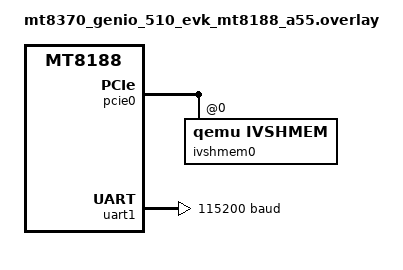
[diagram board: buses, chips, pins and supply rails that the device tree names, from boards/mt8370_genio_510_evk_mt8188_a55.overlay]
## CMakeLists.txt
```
# SPDX-License-Identifier: Apache-2.0

cmake_minimum_required(VERSION 3.20.0)

find_package(Zephyr REQUIRED HINTS $ENV{ZEPHYR_BASE})
project(rpmsg-test)

target_include_directories(app PRIVATE ../include)

target_sources(app PRIVATE src/main.c)
```

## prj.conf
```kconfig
CONFIG_OPENAMP=y
CONFIG_HEAP_MEM_POOL_SIZE=131072

CONFIG_PCIE=y
CONFIG_PCIE_CONTROLLER=y
CONFIG_PCIE_ECAM=y
CONFIG_POLL=y
CONFIG_DYNAMIC_INTERRUPTS=y

CONFIG_VIRTUALIZATION=y
CONFIG_IVSHMEM_V2=y
CONFIG_IVSHMEM_DOORBELL=y
```

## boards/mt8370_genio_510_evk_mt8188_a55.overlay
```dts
/*
 * Copyright 2026 MediaTek
 *
 * SPDX-License-Identifier: Apache-2.0
 */

/ {
	chosen {
		zephyr,pcie-controller = &pcie0;
	};

	pcie0: pcie@6b800000 {
		compatible = "pci-host-ecam-generic";
		device_type = "pci";
		reg = <0x6b800000 0x100000>;
		#address-cells = <0x03>;
		#size-cells = <0x02>;
		ranges = <0x03000000 0x00 0x6b900000 0x6b900000 0x00 0x1000>;

		/*
		 * v4.4.2's pci-host-ecam-generic binding includes
		 * interrupt-nexus.yaml, which makes these mandatory. The ivshmem
		 * node below also names its interrupt directly, so this map is
		 * what satisfies the binding rather than what routes the IRQ.
		 */
		#interrupt-cells = <0x01>;
		interrupt-map-mask = <0x00 0x00 0x00 0x07>;
		interrupt-map = <0x00 0x00 0x00 0x01 &gic 0x00 GIC_SPI 74 IRQ_TYPE_LEVEL IRQ_DEFAULT_PRIORITY>;

		status = "okay";

		ivshmem0: ivshmem@0 {
			compatible = "qemu,ivshmem";

            ivshmem-v2;

            interrupt-parent = <&gic>;
            interrupts = <GIC_SPI 74 IRQ_TYPE_LEVEL IRQ_DEFAULT_PRIORITY>;

			vendor-id = <0x110a>;			/* Siemens */
			device-id = <0x4106>;			/* IVSHMEM */
			class-rev = <0xff000000>;       /* PCI_CLASS_OTHERS | IVSHMEM_PROTO_UNDEFINED */
			class-rev-mask = <0xffffff00>;	/* PCI_CLASS_MASK | IVSHMEM_PROTO_MASK */

			reg = <0x00 0x00 0x00 0x00 0x01>;

			status = "okay";
		};
	};
};

&gpio0_31 {
	status = "okay";
};

&uart1 {
	pinctrl-0 = <&uart1_default>;
	pinctrl-names = "default";
	current-speed = <115200>;
	status = "okay";
};
```

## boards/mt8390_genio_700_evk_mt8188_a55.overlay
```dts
/*
 * Copyright 2026 MediaTek
 *
 * SPDX-License-Identifier: Apache-2.0
 */

/*
 * The rpmsg cells give the inmate a virtual PCI host bridge at 0x6b800000 with
 * one ivshmem-v2 device behind it, interrupting on GIC SPI 74.  The shared
 * memory is read from the device, so nothing here names its regions.
 *
 * The same overlay serves both Genio EVKs: the cells give them the same layout.
 */

/ {
	chosen {
		zephyr,pcie-controller = &pcie0;
	};

	pcie0: pcie@6b800000 {
		compatible = "pci-host-ecam-generic";
		device_type = "pci";
		reg = <0x6b800000 0x100000>;
		#address-cells = <0x03>;
		#size-cells = <0x02>;
		ranges = <0x03000000 0x00 0x6b900000 0x6b900000 0x00 0x1000>;

		/*
		 * The pci-host-ecam-generic binding includes interrupt-nexus.yaml,
		 * which makes these mandatory.  The ivshmem node below also names
		 * its interrupt directly, so this map is what satisfies the binding
		 * rather than what routes the IRQ.
		 */
		#interrupt-cells = <0x01>;
		interrupt-map-mask = <0x00 0x00 0x00 0x07>;
		interrupt-map = <0x00 0x00 0x00 0x01
				 &gic 0x00 GIC_SPI 74 IRQ_TYPE_LEVEL IRQ_DEFAULT_PRIORITY>;

		status = "okay";

		ivshmem0: ivshmem@0 {
			compatible = "qemu,ivshmem";

			ivshmem-v2;

			interrupt-parent = <&gic>;
			interrupts = <GIC_SPI 74 IRQ_TYPE_LEVEL IRQ_DEFAULT_PRIORITY>;

			vendor-id = <0x110a>;		/* Siemens */
			device-id = <0x4106>;		/* IVSHMEM */
			class-rev = <0xff000000>;	/* PCI_CLASS_OTHERS | IVSHMEM_PROTO_UNDEFINED */
			class-rev-mask = <0xffffff00>;	/* PCI_CLASS_MASK | IVSHMEM_PROTO_MASK */

			reg = <0x00 0x00 0x00 0x00 0x01>;

			status = "okay";
		};
	};
};
```

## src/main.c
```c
/*
 * Copyright (c) 2018, NXP
 * Copyright (c) 2018, Nordic Semiconductor ASA
 * Copyright (c) 2018-2019, Linaro Limited
 *
 * SPDX-License-Identifier: Apache-2.0
 */

#include <stdio.h>
#include <stdlib.h>
#include <string.h>
#include <zephyr/device.h>
#include <zephyr/drivers/ipm.h>
#include <zephyr/drivers/virtualization/ivshmem.h>
#include <zephyr/kernel.h>
#include <zephyr/arch/arch_interface.h>	/* arch_page_phys_get() */

#include <openamp/open_amp.h>
#include <metal/device.h>

#include "common.h"


#define ERROR_STR  "[ERROR] "
#define INFO_STR   "[INFO]  "

#define MSG_STR_SIZE 64

#define MSG_STR "Hello from Zephyr!"

#define RPMSG_THREAD_STACK_SIZE    2048
#define DOORBELL_THREAD_STACK_SIZE 2048


typedef enum{
    RSC_OFFS_VDEV = 0,
    RSC_OFFS_END
}   rsc_offs_t;

typedef struct __attribute__ ((packed)) {
    struct resource_table hdr;

	uint32_t offset [RSC_OFFS_END];

    struct fw_rsc_vdev vdev;

    struct fw_rsc_vdev_vring vring [VRING_COUNT];
}   rsc_tbl_t;

typedef struct {
	/* IVSHMEM device */
	const struct device* dev;

	/* Virtual and physical address of IVSHMEM RW memory region. */
	uintptr_t ivshmem_paddr;
	uintptr_t ivshmem_vaddr;

	/* Size of IVSHMEM RW memory region. */
	size_t ivshmem_size;

	uint32_t id;
	uint32_t target;
}   rpmsg_ctx_t;


static int msg_cnt = 0;

static char msg_tx [MSG_STR_SIZE];

static rpmsg_ctx_t rpmsg_ctx;

/* Static part of the resource table. The dynamic   */
/* part gets set during application initialization. */
static const rsc_tbl_t rsc_tbl = {
    .hdr = {
        .ver = 1,
        .num = RSC_OFFS_END,

        .reserved = {0, 0},
    },

    .offset = {
        [RSC_OFFS_VDEV] = offsetof (rsc_tbl_t, vdev),
    },

    .vdev = {
        .type = RSC_VDEV,
        .id   = VIRTIO_ID_RPMSG,

        .notifyid   = 0,
        .dfeatures  = 1 << VIRTIO_RPMSG_F_NS,
        .gfeatures  = 0,
        .config_len = 0,
        .status     = 0,

        .num_of_vrings = VRING_COUNT,
        
        .reserved = {0, 0}
    },

    .vring = {
        [VRING_TX] = {
            .align    = VRING_ALIGNMENT,
            .num      = VRING_NUM_DESCRS,
            .notifyid = VRING_TX + 1,
            .reserved = 0,
        },
        [VRING_RX] = {
            .align    = VRING_ALIGNMENT,
            .num      = VRING_NUM_DESCRS,
            .notifyid = VRING_RX + 1,
            .reserved = 0,
        },
    }
};


static uint32_t rpmsg_dest = UINT32_MAX;

static struct metal_io_region metal_io;

static metal_phys_addr_t rpmsg_paddr_map;

static struct rpmsg_virtio_shm_pool shm_pool;

static struct virtqueue* vq [VRING_COUNT];

static struct virtio_vring_info vrings [VRING_COUNT];

static struct virtio_device vdev;

static struct rpmsg_virtio_device rpmsg_vdev;

static struct rpmsg_device* rpmsg_dev;

static struct rpmsg_endpoint rpmsg_ept;

static struct k_thread rpmsg_thread;
static struct k_thread doorbell_thread;

static K_THREAD_STACK_DEFINE (rpmsg_stack, RPMSG_THREAD_STACK_SIZE);
static K_THREAD_STACK_DEFINE (doorbell_stack, DOORBELL_THREAD_STACK_SIZE);

static K_SEM_DEFINE (virtio_config_sem, 0, 1);

static struct k_poll_signal doorbell_sig = K_POLL_SIGNAL_INITIALIZER (doorbell_sig);

static struct k_poll_event doorbell_evt = K_POLL_EVENT_INITIALIZER (K_POLL_TYPE_SIGNAL, K_POLL_MODE_NOTIFY_ONLY, &doorbell_sig);

static volatile bool tx_msg = false;


static unsigned char vdev_get_status (struct virtio_device* vdev);
static void vdev_set_status (struct virtio_device* vdev,
                             unsigned char         status);
static uint32_t vdev_get_features (struct virtio_device* vdev);
static void vdev_set_features (struct virtio_device* vdev,
                               uint32_t              features);
static void vdev_nfy (struct virtqueue* vq);

static void rpmsg_ns_nfy (struct rpmsg_device* rdev,
                          const char*          name,
                          uint32_t             dest);
static int rpmsg_ept_nfy (struct rpmsg_endpoint* ept,
                          void*                  data,
		                  size_t                 len,
                          uint32_t               src,
                          void*                  priv);
static void rpmsg_service_unbind(struct rpmsg_endpoint* ept);

static struct fw_rsc_vdev* get_rsc_tbl_vdev (uintptr_t ptr);
static struct fw_rsc_vdev_vring* get_rsc_tbl_vring (uintptr_t  ptr,
                                                    size_t     idx);

static void doorbell_task (void* arg1,
                           void* arg2,
                           void* arg3);
static void rpmsg_task (void* arg1,
                        void* arg2,
                        void* arg3);


static const struct virtio_dispatch vdispatch = {
	.get_status   = vdev_get_status,
	.set_status   = vdev_set_status,
	.get_features = vdev_get_features,
	.set_features = vdev_set_features,
	.notify       = vdev_nfy,
};

static unsigned char vdev_get_status (struct virtio_device* vdev)
{
    volatile struct fw_rsc_vdev* rsc_tbl_vdev = get_rsc_tbl_vdev (rpmsg_ctx.ivshmem_vaddr);


    return (rsc_tbl_vdev->status);
}

static void vdev_set_status (struct virtio_device* vdev,
                             unsigned char         status)
{
    printf (INFO_STR "vdev_set_status  status: 0x%02x\n", status);
}

static uint32_t vdev_get_features (struct virtio_device* vdev)
{
    uint32_t features = 1 << VIRTIO_RPMSG_F_NS;


    printf (INFO_STR "vdev_get_features  features: 0x%08x\n", features);

	return (features);
}

static void vdev_set_features (struct virtio_device* vdev,
                               uint32_t              features)
{
    printf (INFO_STR "vdev_set_features  features: 0x%08x\n", features);
}

static void vdev_nfy (struct virtqueue* vq)
{
    /* For the moment, the interrupt number is always '0'. */
    ivshmem_int_peer (rpmsg_ctx.dev, rpmsg_ctx.target, 0);
}

static void rpmsg_ns_nfy (struct rpmsg_device* rdev,
                          const char*          name,
                          uint32_t             dest)
{
    printf (INFO_STR "rpmsg_ns_nfy  name: %s  dest: 0x%08x\n", name, dest);

	rpmsg_dev  = rdev;
	rpmsg_dest = dest;
}

static int rpmsg_ept_nfy (struct rpmsg_endpoint* ept,
                          void*                  data,
		                  size_t                 len,
                          uint32_t               src,
                          void*                  priv)
{
    printf (INFO_STR "RPMSG RX  len: %d  msg: \'%s\'\n", (int) len, (const char*) data);

    tx_msg = true;

	return (RPMSG_SUCCESS);
}

static void rpmsg_service_unbind (struct rpmsg_endpoint* ept)
{
    printf (INFO_STR "rpmsg_service_unbind\n");

	rpmsg_destroy_ept (ept);
}

static int send_message (void)
{
    msg_tx [0] = '\0';
    msg_cnt++;

    snprintf (msg_tx, sizeof (msg_tx), "%s  %d", MSG_STR, msg_cnt);

	printf(INFO_STR "send_message  Size: %zu\n", strlen (msg_tx) + 1);

	return (rpmsg_send (&rpmsg_ept, msg_tx, strlen (msg_tx) + 1));
}

static struct fw_rsc_vdev* get_rsc_tbl_vdev (uintptr_t ptr)
{
    return ((struct fw_rsc_vdev*) &(((rsc_tbl_t*) ptr)->vdev));
}

static struct fw_rsc_vdev_vring* get_rsc_tbl_vring (uintptr_t  ptr,
                                                    size_t     idx)
{
    return ((struct fw_rsc_vdev_vring*) &(((rsc_tbl_t*) ptr)->vring [idx]));
}                                                    

static void doorbell_task (void* arg1,
                           void* arg2,
                           void* arg3)
{
    bool virtio_ready = false;

	ARG_UNUSED (arg1);
	ARG_UNUSED (arg2);
	ARG_UNUSED (arg3);


    printf (INFO_STR "DOORBELL_TASK started ...\n");

	/* Signal that the IVSHMEM vPCI device is ready for initialization. */
	ivshmem_set_state (rpmsg_ctx.dev, 1);

	while (1) {
		int          vector;
		unsigned int signaled;

		k_poll (&doorbell_evt, 1, K_FOREVER);

		k_poll_signal_check (&doorbell_sig, &signaled, &vector);
		if (signaled == 0) {
			continue;
		}

        if (! (virtio_ready)) {
            volatile struct fw_rsc_vdev* rsc_tbl_vdev = get_rsc_tbl_vdev (rpmsg_ctx.ivshmem_vaddr);

            while ((rsc_tbl_vdev->status & VIRTIO_CONFIG_STATUS_DRIVER_OK) == 0) {
                /* Wait for the driver status to become ok. */
            }

            virtio_ready = true;

            k_sem_give (&virtio_config_sem);
        } else {
            virtqueue_notification (vq [VRING_RX]);
        }

		k_poll_signal_init (&doorbell_sig);
	}
}

static void rpmsg_task (void* arg1,
                        void* arg2,
                        void* arg3)
{
    int                      ret;
    uint32_t                 max_peers;
	struct metal_init_params metal_params = METAL_INIT_DEFAULTS;


	ARG_UNUSED (arg1);
	ARG_UNUSED (arg2);
	ARG_UNUSED (arg3);


    printf (INFO_STR "RPMSG_TASK started ...\n");

    /* Retrieve the IVSHMEM memory region. */
	rpmsg_ctx.dev = DEVICE_DT_GET (DT_NODELABEL (ivshmem0));
	if (! (device_is_ready (rpmsg_ctx.dev))) {
		printf (ERROR_STR "Could not get IVSHMEM device\n");

		return;
	}

    /* Retrieve the IVSHMEM RW memory section. */
	rpmsg_ctx.ivshmem_size = ivshmem_get_rw_mem_section (rpmsg_ctx.dev, &rpmsg_ctx.ivshmem_vaddr);
	if (rpmsg_ctx.ivshmem_size == 0) {
		printf (ERROR_STR "IVSHMEM RW size cannot be 0\n");
		
        return;
	}

	if (((void*) rpmsg_ctx.ivshmem_vaddr) == NULL) {
		printf (ERROR_STR "IVSHMEM virtual memory address cannot be null\n");
		
        return;
	}

    if (arch_page_phys_get ((void*) rpmsg_ctx.ivshmem_vaddr, &rpmsg_ctx.ivshmem_paddr) != 0) {
        printf (ERROR_STR "Failed to get physical address for IVSHMEM memory\n");
        
        return;
    }

    /* Retrieve the IVSHMEM device id. */
	rpmsg_ctx.id = ivshmem_get_id (rpmsg_ctx.dev);

    /* Calculate the target id. */
	max_peers = ivshmem_get_max_peers (rpmsg_ctx.dev);
    if (max_peers == 0) {
        printf (ERROR_STR "Invalid max_peers value: %d\n", max_peers);
        
        return;
    }

    rpmsg_ctx.target = rpmsg_ctx.id + 1;
    if (rpmsg_ctx.target >= max_peers) {
        rpmsg_ctx.target = 0;
    }

	printf (INFO_STR "Id: %d  Target: %d\n", rpmsg_ctx.id, rpmsg_ctx.target);

    /* Clear the IVSHMEM memory region. */
    memset ((void*) rpmsg_ctx.ivshmem_vaddr, 0, rpmsg_ctx.ivshmem_size);

    /* Set the resource table in the IVSHMEM's VDEV area. */
	printf (INFO_STR "Setting resource table\n");
    memcpy ((void*) rpmsg_ctx.ivshmem_vaddr, &rsc_tbl, sizeof (rsc_tbl));

    get_rsc_tbl_vring (rpmsg_ctx.ivshmem_vaddr, VRING_TX)->da  = ((uint32_t) rpmsg_ctx.ivshmem_paddr) + (RESOURCE_SIZE + (VRING_TX * VRING_SIZE));
    get_rsc_tbl_vring (rpmsg_ctx.ivshmem_vaddr, VRING_RX)->da  = ((uint32_t) rpmsg_ctx.ivshmem_paddr) + (RESOURCE_SIZE + (VRING_RX * VRING_SIZE));

    /* Start the IVSHMEM doorbell thread handler. */    
	ret = ivshmem_register_handler (rpmsg_ctx.dev, &doorbell_sig, 0);
    if (ret != 0) {
		printf (ERROR_STR "ivshmem_register_handler () failed with: %d\n", ret);

		return;
	}

    /* Create the doorbell handler. */
    k_thread_create (&doorbell_thread, doorbell_stack, DOORBELL_THREAD_STACK_SIZE, doorbell_task, NULL, NULL, NULL, K_PRIO_COOP (2), 0, K_NO_WAIT);

	ret = ivshmem_enable_interrupts (rpmsg_ctx.dev, true);
    if (ret != 0) {
		printf (ERROR_STR "ivshmem_enable_interrupts () failed with: %d\n", ret);

		return;
	}

	printf (INFO_STR "Awaiting VIRTIO config ready ...\n");

    /* Wait for the other side to have initialized the IVSHMEM layer. */
	k_sem_take (&virtio_config_sem, K_FOREVER);

	printf (INFO_STR "VIRTIO config is ready ...\n");

    /* Initialize OPEN-AMP's METAL layer. */
	/* metal_params.log_level = METAL_LOG_DEBUG; */
	ret = metal_init (&metal_params);
	if (ret < 0) {
		printf (ERROR_STR "metal_init () failed with: %d\n", ret);

		return;
	}

	/* Declare shared memory region */
    rpmsg_paddr_map = (metal_phys_addr_t) rpmsg_ctx.ivshmem_paddr;

	metal_io_init (&metal_io, (void*) rpmsg_ctx.ivshmem_vaddr, &rpmsg_paddr_map, rpmsg_ctx.ivshmem_size, -1, 0, NULL);

	printf (INFO_STR "State: %d\n", ivshmem_get_state (rpmsg_ctx.dev, rpmsg_ctx.id));

	/* Setup RPMSG queues */
	vq [VRING_TX] = virtqueue_allocate (VRING_NUM_DESCRS);
	if (vq [VRING_TX] == NULL) {
		printf (ERROR_STR "virtqueue_allocate (num_desc_extra: %d) failed with: %d\n", VRING_NUM_DESCRS, -ENOMEM);

        return;
    }

	vq [VRING_RX] = virtqueue_allocate (VRING_NUM_DESCRS);
	if (vq [VRING_RX] == NULL) {
		printf (ERROR_STR "virtqueue_allocate (num_desc_extra: %d) failed with: %d\n", VRING_NUM_DESCRS, -ENOMEM);

        return;
    }

	vrings [VRING_TX].io             = &metal_io;
	vrings [VRING_TX].info.vaddr     = (void*) (rpmsg_ctx.ivshmem_vaddr + (RESOURCE_SIZE + (VRING_TX * VRING_SIZE)));
	vrings [VRING_TX].info.num_descs = VRING_NUM_DESCRS;
	vrings [VRING_TX].info.align     = VRING_ALIGNMENT;
	vrings [VRING_TX].vq             = vq [VRING_TX];

	vrings [VRING_RX].io             = &metal_io;
	vrings [VRING_RX].info.vaddr     = (void*) (rpmsg_ctx.ivshmem_vaddr + (RESOURCE_SIZE + (VRING_RX * VRING_SIZE)));
	vrings [VRING_RX].info.num_descs = VRING_NUM_DESCRS;
	vrings [VRING_RX].info.align     = VRING_ALIGNMENT;
	vrings [VRING_RX].vq             = vq [VRING_RX];

	vdev.role        = RPMSG_REMOTE;
	vdev.vrings_num  = VRING_COUNT;
	vdev.func        = &vdispatch;
	vdev.vrings_info = vrings;

	printf (INFO_STR "IVSHMEM      Phy: 0x%016" PRIxPTR "  Virt: 0x%016" PRIxPTR "  Size: 0x%08x\n",
        rpmsg_ctx.ivshmem_paddr, rpmsg_ctx.ivshmem_vaddr, (unsigned int) rpmsg_ctx.ivshmem_size);
	printf (INFO_STR "VRING [TX]   Phy: 0x%016" PRIxPTR "  Virt: 0x%016" PRIxPTR "  Size: 0x%08x\n",
        (rpmsg_ctx.ivshmem_paddr + (RESOURCE_SIZE + (VRING_TX * VRING_SIZE))), (uintptr_t) vrings [VRING_TX].info.vaddr, VRING_SIZE);
	printf (INFO_STR "VRING [RX]   Phy: 0x%016" PRIxPTR "  Virt: 0x%016" PRIxPTR "  Size: 0x%08x\n",
        (rpmsg_ctx.ivshmem_paddr + (RESOURCE_SIZE + (VRING_RX * VRING_SIZE))), (uintptr_t) vrings [VRING_RX].info.vaddr, VRING_SIZE);

	rpmsg_virtio_init_shm_pool (&shm_pool, (void*) rpmsg_ctx.ivshmem_vaddr, rpmsg_ctx.ivshmem_size);

    /* Initialize the RPMSG VDEV. */
	ret = rpmsg_init_vdev (&rpmsg_vdev, &vdev, rpmsg_ns_nfy, &metal_io, &shm_pool);
	if (ret != 0) {
		printf (ERROR_STR "rpmsg_init_vdev () failed with: %d\n", ret);

		return;
	}

	rpmsg_dev = rpmsg_virtio_get_rpmsg_device (&rpmsg_vdev);
    if (! (rpmsg_dev)) {
        printf (ERROR_STR "rpmsg_virtio_get_rpmsg_device failed\n");

        return;
    }

    /* Create endpoint with the other side. */
	ret = rpmsg_create_ept (&rpmsg_ept, rpmsg_dev, RPMSG_SERVICE_NAME, RPMSG_ADDR_ANY, RPMSG_ADDR_ANY, rpmsg_ept_nfy, rpmsg_service_unbind);
	if (ret != 0) {
		printf (ERROR_STR "rpmsg_create_ept failed with: %d\n", ret);

		return;
	}

	printf (INFO_STR "Created endpoint for service \'%s\'\n", RPMSG_SERVICE_NAME);

    /* Wait for endpoint to become read. */
    while (! (is_rpmsg_ept_ready(&rpmsg_ept))){
        k_msleep(100);
    };

    printf (INFO_STR "Endpoint for service \'%s\' is connected\n", RPMSG_SERVICE_NAME);

    /* And now, send / receive messages. */
	while (1) {
        while (! (tx_msg)) {
            k_msleep(100);
        }

		ret = send_message ();
		if (ret < 0) {
            printf (ERROR_STR "rpmsg_send () failed with: %d\n", ret);

			return;
		}

        tx_msg = false;
	}

    while (1) {};
}

int main (void)
{
    printf ("RPMSG-TEST ...\n");

	k_thread_create (&rpmsg_thread, rpmsg_stack, RPMSG_THREAD_STACK_SIZE, rpmsg_task, NULL, NULL, NULL, K_PRIO_COOP (7), 0, K_NO_WAIT);

	return (0);
}
```
